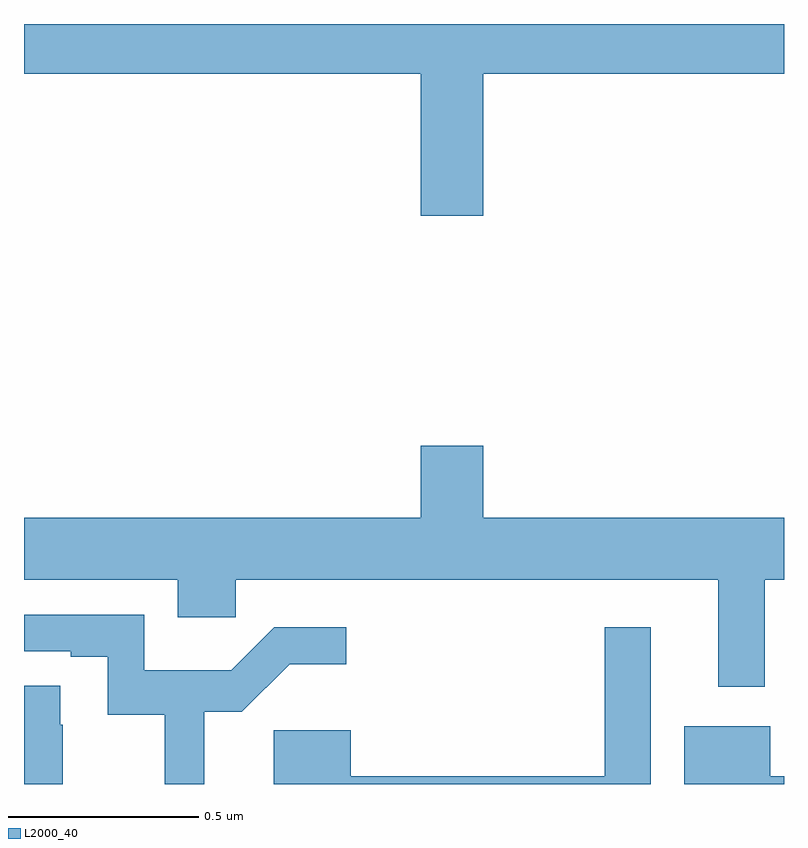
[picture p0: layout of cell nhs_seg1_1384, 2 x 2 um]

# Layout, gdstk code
import gdstk
lib = gdstk.Library(unit=1e-6, precision=1e-09)
def P(c, l, *ps):  # polygons
    for p in ps: c.add(gdstk.Polygon(p, *l))
L2000_40 = (2000, 40)

nhs_seg1_1384 = lib.new_cell('nhs_seg1_1384')
P(nhs_seg1_1384, L2000_40, [(129.208,549.068),(130,549.068),(130,549.199),(128,549.199),(128,549.068),(129.044,549.068),(129.044,548.694),(129.208,548.694)],
  [(129.949,547.736),(130,547.736),(130,547.9),(129.208,547.9),(129.208,548.089),(129.044,548.089),(129.044,547.9),(128,547.9),(128,547.736),(128.405,547.736),(128.405,547.638),(128.557,547.638),(128.557,547.736),(129.827,547.736),(129.827,547.455),(129.949,547.455)],
  [(128.474,547.389),(128.573,547.389),(128.699,547.514),(128.848,547.514),(128.848,547.611),(128.658,547.611),(128.545,547.498),(128.316,547.498),(128.316,547.644),(128,547.644),(128,547.548),(128.123,547.548),(128.123,547.534),(128.22,547.534),(128.22,547.381),(128.371,547.381),(128.371,547.199),(128.474,547.199)],
  [(129.649,547.612),(129.528,547.612),(129.528,547.22),(128.86,547.22),(128.86,547.341),(128.657,547.341),(128.657,547.199),(129.649,547.199)],
  [(128.102,547.355),(128.096,547.355),(128.096,547.457),(128,547.457),(128,547.199),(128.102,547.199)],
  [(130,547.22),(129.964,547.22),(129.964,547.351),(129.737,547.351),(129.737,547.199),(130,547.199)])

lib.write_gds('nhs_seg1_1384.gds')
